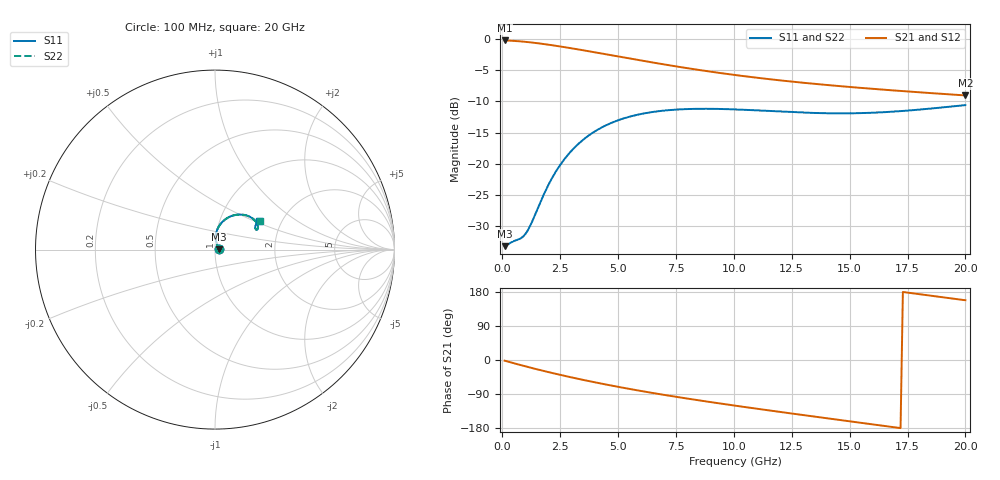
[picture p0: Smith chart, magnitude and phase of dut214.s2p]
! Touchstone file exported from HFSS 2024.1.0
!  File:  C:/UserFiles/LocalFiles/RDL_TSV_Batchsim/temp_RDL_TSV_214_1779447289.aedt
!  Generated:  07:09:38 PM May 22, 2026
!  Design:  RDL_TSV
!  Project:  temp_RDL_TSV_214_1779447289
!  Setup:  Setup1
!  Solution:  Sweep
! Variables:
!  dtsv = 8.63um
!  hbump = 3um
!  htsv = 79.06um
!  ldown = 690.37um
!  lrdl = 185.79um
!  p = 40
!  p1 = 46.08um
!  rhole = 10um
!  subl = 2814.27um
!  t = 450um
!  tdown = 2.08um
!  trdl = 3.29um
!  viad = 10um
!  wdown = 22.03um
!  wrdl = 15.58um
!  xbump = 18um
# GHz S MA R 50.000000
! Terminal data exported
! Port[1] = TM1_1_T1
! Port[2] = TM1_4_T1
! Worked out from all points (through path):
!   200 points, 100 MHz to 20 GHz, reference 50 ohm
!   highest |S21| = -0.19 dB at 100 MHz (marker M1); lowest = -9.0 dB at 20 GHz (marker M2)
!   group delay of S21, straight-line fit = 26.5 ps
!   lowest |S11| = -33.3 dB at 100 MHz (marker M3), VSWR 1.04, Z = 52.2 + j0.255 ohm
!   |S11| at or under -10 dB: start of sweep to end of sweep
!   |S22| runs from -33.3 to -10.6 dB; largest |S21 - S12| = 8.7e-15
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0.1  0.02171 6.5  0.9781 -1.7  0.9781 -1.7  0.02171 6.5
! Gamma 0 0 0 0
! Port Impedance 50 0 50 0
0.4  0.02338 22.6  0.973 -6.9  0.973 -6.9  0.02339 22.6
0.8  0.02512 43.0  0.9611 -13.5  0.9611 -13.5  0.02514 43.0
1  0.02722 55.7  0.9536 -16.7  0.9536 -16.7  0.02721 55.6
1.2  0.03153 67.7  0.945 -19.9  0.945 -19.9  0.03151 67.6
1.7  0.05179 84.2  0.9205 -27.6  0.9205 -27.6  0.05172 84.1
2  0.06798 86.7  0.9041 -32.1  0.9041 -32.1  0.0679 86.7
2.3  0.08556 86.5  0.887 -36.4  0.887 -36.4  0.08544 86.4
2.9  0.1217 82.1  0.8514 -44.7  0.8514 -44.7  0.1216 82.1
3.5  0.1561 75.9  0.8153 -52.6  0.8153 -52.6  0.1559 75.8
4.2  0.1912 68.2  0.7737 -61.4  0.7737 -61.4  0.1909 68.1
4.9  0.2196 60.8  0.7335 -69.7  0.7335 -69.7  0.2193 60.8
5.8  0.2464 52.4  0.6849 -79.7  0.6849 -79.7  0.2461 52.3
6.8  0.2648 44.4  0.6361 -90.2  0.6361 -90.2  0.2645 44.4
8.4  0.2759 34.9  0.5699 -105.6  0.5699 -105.6  0.2757 34.9
10.1  0.2727 28.6  0.5146 -120.9  0.5146 -120.9  0.2726 28.5
11.7  0.264 25.8  0.4738 -134.5  0.4738 -134.5  0.264 25.7
13.4  0.2558 25.8  0.4396 -148.7  0.4396 -148.7  0.2559 25.6
15  0.2539 27.6  0.4135 -161.8  0.4135 -161.8  0.254 27.4
16.7  0.2607 30.3  0.3903 -175.6  0.3903 -175.6  0.2606 30.0
18.3  0.275 32.3  0.3714 171.4  0.3714 171.4  0.2747 31.9
20  0.2955 33.0  0.3536 157.6  0.3536 157.6  0.295 32.6
